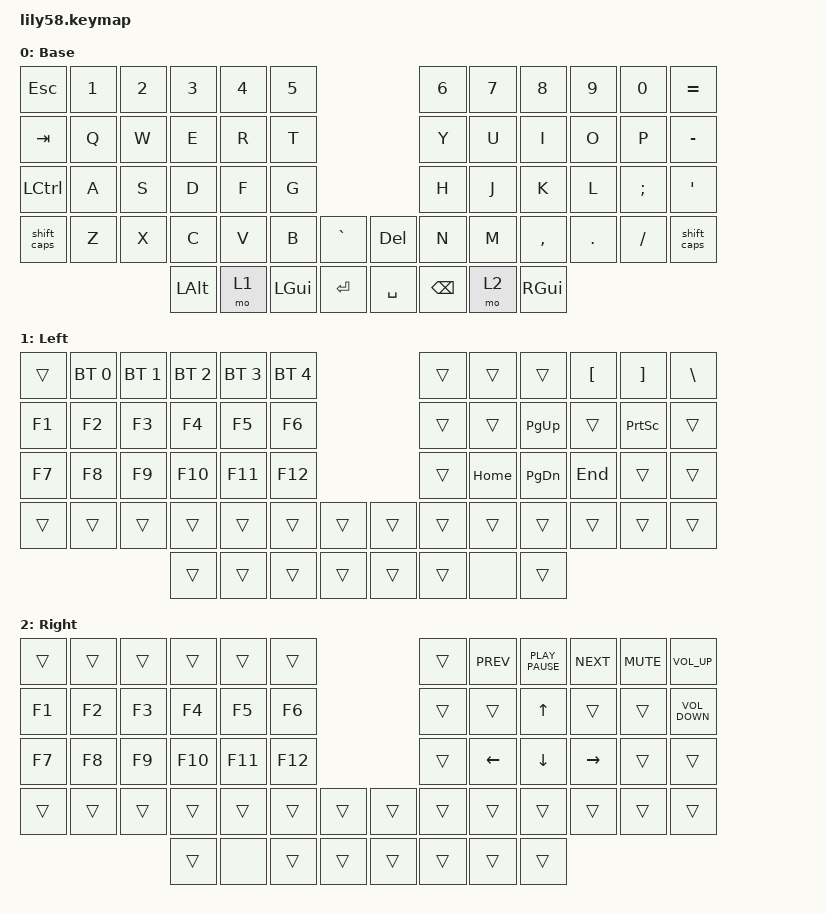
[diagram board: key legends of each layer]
/*
 * Copyright (c) 2020 The ZMK Contributors
 *
 * SPDX-License-Identifier: MIT
 */

#include <behaviors.dtsi>
#include <dt-bindings/zmk/keys.h>
#include <dt-bindings/zmk/bt.h>
#include <dt-bindings/zmk/ext_power.h>

/ {
    behaviors {
        shift_caps: shift_caps {
            compatible = "zmk,behavior-tap-dance";
            label = "SHIFT_CAPS";
            #binding-cells = <0>;
            bindings = <&kp LSHFT>, <&kp LSHFT>, <&kp CAPSLOCK>;

            tapping-term-ms = <250>;
        };
    };

    keymap {
        compatible = "zmk,keymap";

        base_layer {
            // ------------------------------------------------------------------------------------------------------------
            // |  ESC  |  1  |  2  |  3   |  4   |  5   |                   |  6   |  7    |  8    |  9   |   0   |   `   |
            // |  TAB  |  Q  |  W  |  E   |  R   |  T   |                   |  Y   |  U    |  I    |  O   |   P   |   -   |
            // |  CTRL |  A  |  S  |  D   |  F   |  G   |                   |  H   |  J    |  K    |  L   |   ;   |   '   |
            // | SHIFT |  Z  |  X  |  C   |  V   |  B   |   "["  |  |  "]"  |  N   |  M    |  ,    |  .   |   /   | SHIFT |
            //                     | ALT  | GUI  | LOWER|  SPACE |  | ENTER | RAISE| BSPC  | GUI   |

            display-name = "Base";
            bindings = <
&kp ESC      &kp N1  &kp N2  &kp N3    &kp N4  &kp N5                                  &kp N6         &kp N7  &kp N8     &kp N9   &kp N0    &kp EQUAL
&kp TAB      &kp Q   &kp W   &kp E     &kp R   &kp T                                   &kp Y          &kp U   &kp I      &kp O    &kp P     &kp MINUS
&kp LCTRL    &kp A   &kp S   &kp D     &kp F   &kp G                                   &kp H          &kp J   &kp K      &kp L    &kp SEMI  &kp SQT
&shift_caps  &kp Z   &kp X   &kp C     &kp V   &kp B         &kp GRAVE     &kp DELETE  &kp N          &kp M   &kp COMMA  &kp DOT  &kp FSLH  &shift_caps
                             &kp LALT  &mo 1   &kp LEFT_GUI  &kp RETURN    &kp SPACE   &kp BACKSPACE  &mo 2   &kp RGUI
            >;
        };

        left_layer {
            // ------------------------------------------------------------------------------------------------------------
            // | BTCLR | BT1 | BT2 |  BT3 |  BT4 |  BT5 |                   |      |       |       |      |       |       |
            // |  F1   |  F2 |  F3 |  F4  |  F5  |  F6  |                   |  F7  |  F8   |  F9   |  F10 |  F11  |  F12  |
            // |   `   |  !  |  @  |  #   |  $   |  %   |                   |  ^   |  &    |  *    |  (   |   )   |   ~   |
            // |       |     |     |      |      |      |        |  |       |      |  _    |  +    |  {   |   }   |  "|"  |
            //                     |      |      |      |        |  |       |      |       |       |

            display-name = "Left";
            bindings = <
&trans  &bt BT_SEL 0  &bt BT_SEL 1  &bt BT_SEL 2  &bt BT_SEL 3  &bt BT_SEL 4                    &trans  &trans    &trans         &kp LEFT_BRACKET  &kp RIGHT_BRACKET  &kp BACKSLASH
&kp F1  &kp F2        &kp F3        &kp F4        &kp F5        &kp F6                          &trans  &trans    &kp PG_UP      &trans            &kp PRINTSCREEN    &trans
&kp F7  &kp F8        &kp F9        &kp F10       &kp F11       &kp F12                         &trans  &kp HOME  &kp PAGE_DOWN  &kp END           &trans             &trans
&trans  &trans        &trans        &trans        &trans        &trans        &trans    &trans  &trans  &trans    &trans         &trans            &trans             &trans
                                    &trans        &trans        &trans        &trans    &trans  &trans  &none     &trans
            >;
        };

        right_layer {
            // ------------------------------------------------------------------------------------------------------------
            // |       |     |     |      |      |      |                   |      |       |       |      |       |       |
            // |   `   |  1  |  2  |  3   |  4   |  5   |                   |  6   |   7   |   8   |  9   |   0   |       |
            // |   F1  |  F2 |  F3 |  F4  |  F5  |  F6  |                   |      |   <-  |   v   |  ^   |  ->   |       |
            // |   F7  |  F8 |  F9 |  F10 |  F11 |  F12 |        |  |       |  +   |   -   |   =   |  [   |   ]   |   \   |
            //                     |      |      |      |        |  |       |      |       |       |

            display-name = "Right";
            bindings = <
&trans  &trans  &trans  &trans   &trans   &trans                     &trans  &kp K_PREV      &kp K_PLAY_PAUSE  &kp K_NEXT       &kp K_MUTE  &kp C_VOLUME_UP
&kp F1  &kp F2  &kp F3  &kp F4   &kp F5   &kp F6                     &trans  &trans          &kp UP_ARROW      &trans           &trans      &kp C_VOLUME_DOWN
&kp F7  &kp F8  &kp F9  &kp F10  &kp F11  &kp F12                    &trans  &kp LEFT_ARROW  &kp DOWN_ARROW    &kp RIGHT_ARROW  &trans      &trans
&trans  &trans  &trans  &trans   &trans   &trans   &trans    &trans  &trans  &trans          &trans            &trans           &trans      &trans
                        &trans   &none    &trans   &trans    &trans  &trans  &trans          &trans
            >;
        };
    };
};
